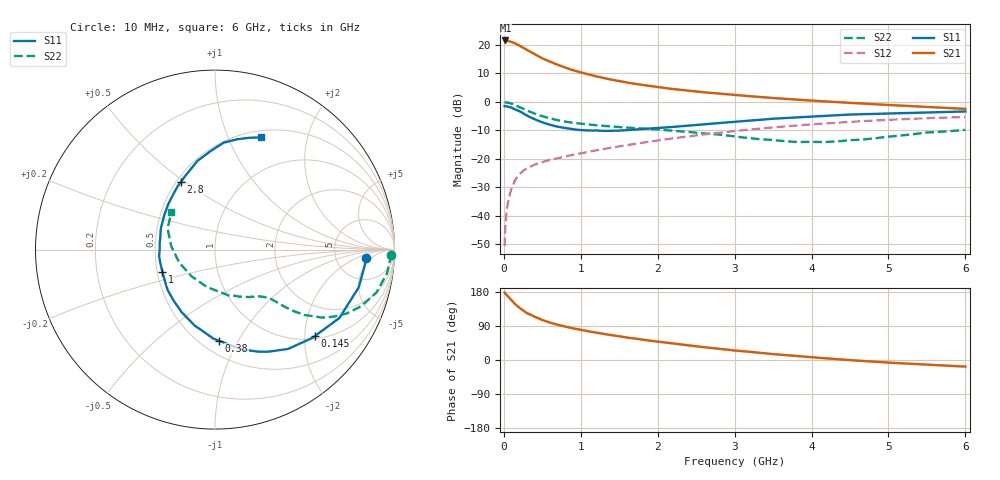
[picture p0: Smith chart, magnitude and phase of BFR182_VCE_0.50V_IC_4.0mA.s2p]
! Infineon Technologies  Discrete & RF Semiconductors
! BFR182
! VCE = 0.50 V,  IC =  4.0 mA
! Common Emitter S-Parameters:  Nov 2015
# GHz  S  MA  R  50
!  f  S11  S21  S12  S22
! GHz  MAG  ANG  MAG  ANG  MAG  ANG  MAG  ANG
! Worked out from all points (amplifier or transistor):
!   210 points, 10 MHz to 6 GHz, reference 50 ohm
!   highest |S21| = 21.6 dB at 20 MHz (marker M1)
!   |S21| within 3 dB of that: start of sweep to 280.8 MHz
!   unconditionally stable (mu >= 1): 990.6 MHz to 3.75 GHz
!   at 185 MHz: K = 0.31, MSG = 23.0 dB, |S12| = -26.1 dB
!   at 1.52 GHz: K = 1.11, MAG = 9.4 dB, |S12| = -15.6 dB
!   at 6 GHz: K = 0.98, MSG = 1.4 dB, |S12| = -5.4 dB
!   S11 on the Smith chart (normalised r, x): 10 MHz: 11, -3; 145 MHz: 1.07, -2.25; 380 MHz: 0.61, -0.84; 1 GHz: 0.53, -0.15; 2.8 GHz: 0.53, +0.49; 6 GHz: 0.58, +1.33
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0.01  0.8415 -3.0  11.93 177.9  0.0029 90.1  0.9835 -1.6
0.02  0.8392 -5.9  11.99 175.2  0.0065 84.0  0.9779 -3.2
0.05  0.8281 -14.7  11.85 168.4  0.0157 82.8  0.9677 -7.8
0.1  0.791 -28.8  11.31 157.6  0.0299 73.7  0.9315 -14.8
0.145  0.7362 -40.8  10.71 147.7  0.0415 68.3  0.8785 -20.5
0.15  0.7323 -42.2  10.66 146.5  0.0428 67.9  0.8732 -21.2
0.2  0.6874 -53.6  9.785 138.3  0.0528 63.5  0.8151 -25.9
0.26  0.6201 -66.6  8.808 129.1  0.0625 59.2  0.7476 -30.1
0.3  0.5746 -75.2  8.207 123.7  0.0678 57.2  0.7051 -32.5
0.38  0.5085 -87.5  7.123 116.1  0.0763 54.2  0.6355 -35.3
0.5  0.4373 -105.2  5.804 105.5  0.0873 51.7  0.5569 -38.0
0.6  0.3952 -118.0  5.076 98.6  0.0951 51.0  0.5109 -39.2
0.8  0.3463 -139.8  3.983 87.8  0.1097 51.2  0.4474 -40.5
1  0.3189 -157.1  3.284 79.5  0.1242 51.7  0.4126 -41.6
1.02  0.3173 -158.8  3.233 78.8  0.1258 51.8  0.4099 -41.8
1.4  0.31 173.4  2.449 65.6  0.1559 52.6  0.3679 -45.5
2.02  0.3468 143.0  1.8 48.0  0.2112 51.6  0.3253 -54.4
2.8  0.4238 116.5  1.395 29.5  0.2862 46.6  0.2667 -73.3
3.1  0.4559 109.1  1.287 23.4  0.3158 43.6  0.2371 -83.8
4.1  0.5591 90.9  1.031 5.7  0.4099 32.7  0.1966 -137.3
5.1  0.6306 77.6  0.866 -7.9  0.4903 20.4  0.2507 171.1
6  0.6764 67.6  0.752 -17.4  0.5401 8.3  0.3213 139.0
